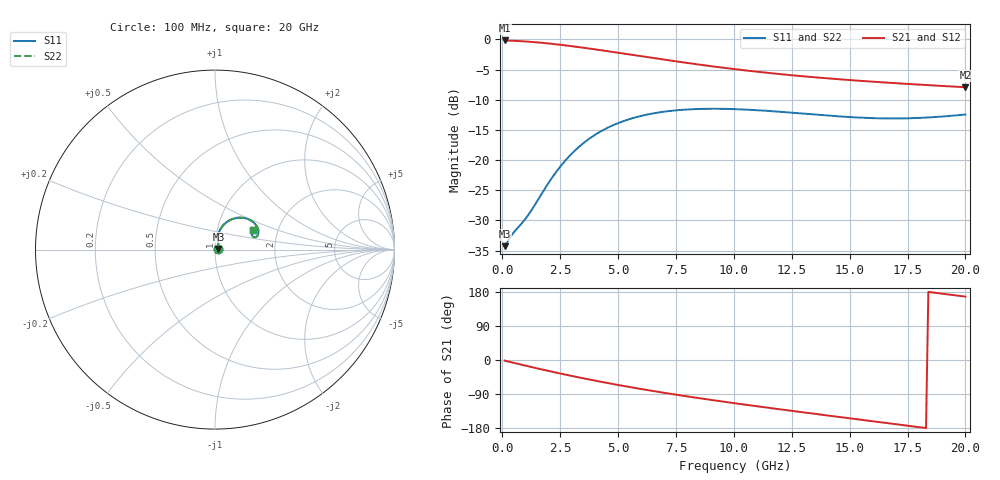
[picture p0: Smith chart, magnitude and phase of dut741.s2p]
! Touchstone file exported from HFSS 2024.1.0
!  File:  C:/UserFiles/LocalFiles/RDL_TSV_Batchsim/temp_RDL_TSV_741_1779895655.aedt
!  Generated:  11:43:07 PM May 27, 2026
!  Design:  RDL_TSV
!  Project:  temp_RDL_TSV_741_1779895655
!  Setup:  Setup1
!  Solution:  Sweep
! Variables:
!  dtsv = 5.89um
!  hbump = 3um
!  htsv = 67.72um
!  ldown = 601.29um
!  lrdl = 271.22um
!  p = 40
!  p1 = 43.83um
!  rhole = 10um
!  subl = 2888.75um
!  t = 450um
!  tdown = 2.48um
!  trdl = 2.32um
!  viad = 10um
!  wdown = 22.7um
!  wrdl = 27.48um
!  xbump = 18um
# GHz S MA R 50.000000
! Terminal data exported
! Port[1] = TM1_1_T1
! Port[2] = TM1_4_T1
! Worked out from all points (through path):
!   200 points, 100 MHz to 20 GHz, reference 50 ohm
!   highest |S21| = -0.17 dB at 100 MHz (marker M1); lowest = -7.9 dB at 20 GHz (marker M2)
!   group delay of S21, straight-line fit = 25.5 ps
!   lowest |S11| = -34.3 dB at 100 MHz (marker M3), VSWR 1.04, Z = 51.9 + j0.355 ohm
!   |S11| at or under -10 dB: start of sweep to end of sweep
!   |S22| runs from -34.3 to -11.5 dB; largest |S21 - S12| = 8.3e-15
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0.1  0.01937 10.2  0.9807 -1.6  0.9807 -1.6  0.01937 10.2
! Gamma 0 0 0 0
! Port Impedance 50 0 50 0
0.5  0.02528 33.8  0.9742 -7.6  0.9742 -7.6  0.02528 33.8
1  0.03263 53.5  0.9622 -14.9  0.9622 -14.9  0.03262 53.5
1.3  0.03951 63.8  0.9529 -19.2  0.9529 -19.2  0.0395 63.8
1.9  0.06058 75.4  0.9302 -27.6  0.9302 -27.6  0.06059 75.4
2.3  0.07854 77.6  0.9127 -33.0  0.9127 -33.0  0.07856 77.6
2.7  0.09811 77.1  0.8939 -38.2  0.8939 -38.2  0.09815 77.1
3.1  0.1183 75.1  0.8742 -43.3  0.8742 -43.3  0.1183 75.1
3.5  0.1382 72.1  0.8539 -48.3  0.8539 -48.3  0.1382 72.2
4.2  0.1708 66.0  0.8176 -56.7  0.8176 -56.7  0.1709 66.0
5  0.2026 58.6  0.7763 -65.9  0.7763 -65.9  0.2027 58.6
5.8  0.2275 51.4  0.7361 -74.5  0.7361 -74.5  0.2277 51.5
6.8  0.2491 43.3  0.6889 -84.7  0.6889 -84.7  0.2493 43.3
7.6  0.2596 37.6  0.6542 -92.4  0.6542 -92.4  0.2599 37.6
8.4  0.265 32.5  0.6226 -99.8  0.6226 -99.8  0.2654 32.6
10.1  0.2643 24.3  0.5655 -114.6  0.5655 -114.6  0.2648 24.3
11.7  0.254 19.4  0.5229 -127.8  0.5229 -127.8  0.2547 19.4
13.4  0.2394 17.2  0.4874 -141.3  0.4874 -141.3  0.2402 17.1
15  0.2274 17.9  0.4607 -153.9  0.4607 -153.9  0.2282 17.8
16.7  0.2215 20.9  0.4375 -167.1  0.4375 -167.1  0.2223 20.7
18.3  0.2252 24.7  0.4191 -179.6  0.4191 -179.6  0.2259 24.4
20  0.2389 27.9  0.4018 167.2  0.4018 167.2  0.2394 27.6
